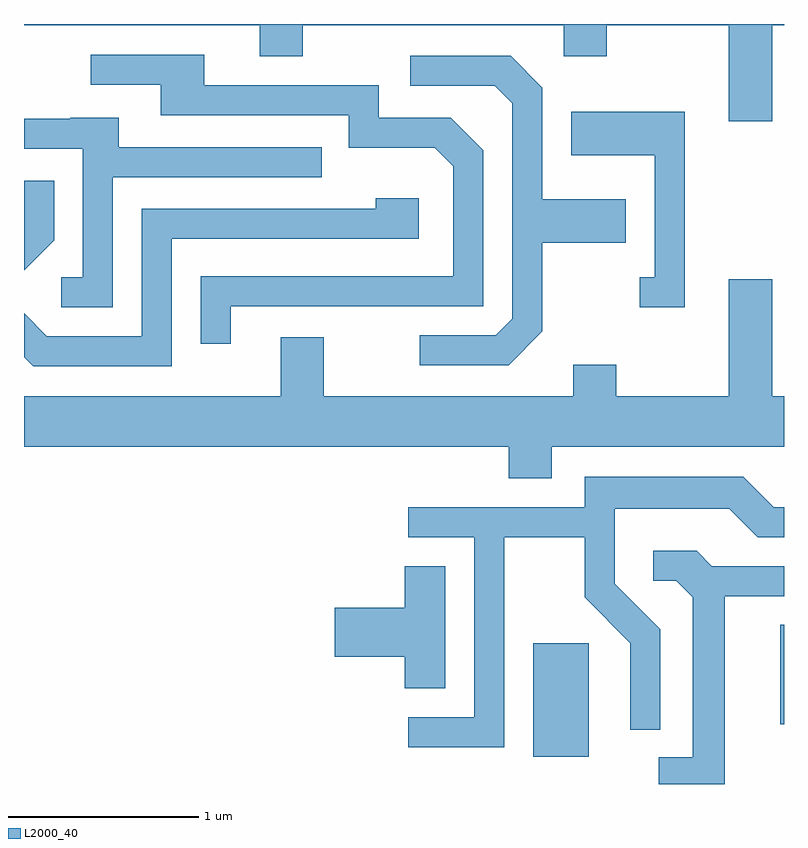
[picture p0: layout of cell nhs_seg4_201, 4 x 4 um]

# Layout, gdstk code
import gdstk
lib = gdstk.Library(unit=1e-6, precision=1e-09)
def R(c, l, rs):  # rectangles x0, y0, x1, y1
    for r in rs: c.add(gdstk.rectangle(r[:2], r[2:], *l))
def P(c, l, *ps):  # polygons
    for p in ps: c.add(gdstk.Polygon(p, *l))
L2000_40 = (2000, 40)

nhs_seg4_201 = lib.new_cell('nhs_seg4_201')
R(nhs_seg4_201, L2000_40, [(192.291,1384.126,192.584,1384.724), (193.591,1384.296,193.611,1384.819)])
P(nhs_seg4_201, L2000_40, [(193.549,1387.976),(193.611,1387.976),(193.611,1387.982),(189.611,1387.982),(189.611,1387.976),(190.851,1387.976),(190.851,1387.811),(191.079,1387.811),(191.079,1387.976),(192.451,1387.976),(192.451,1387.811),(192.679,1387.811),(192.679,1387.976),(193.321,1387.976),(193.321,1387.471),(193.549,1387.471)],
  [(190.699,1386.496),(192.029,1386.496),(192.029,1387.317),(191.857,1387.489),(191.479,1387.489),(191.479,1387.659),(190.559,1387.659),(190.559,1387.819),(189.963,1387.819),(189.963,1387.661),(190.331,1387.661),(190.331,1387.501),(191.321,1387.501),(191.321,1387.331),(191.774,1387.331),(191.871,1387.234),(191.871,1386.654),(190.541,1386.654),(190.541,1386.298),(190.699,1386.298)],
  [(192.339,1386.364),(192.339,1386.831),(192.779,1386.831),(192.779,1387.059),(192.339,1387.059),(192.339,1387.647),(192.172,1387.814),(191.643,1387.814),(191.643,1387.656),(192.089,1387.656),(192.181,1387.564),(192.181,1386.432),(192.094,1386.344),(191.693,1386.344),(191.693,1386.186),(192.162,1386.186)],
  [(193.089,1387.519),(192.491,1387.519),(192.491,1387.291),(192.931,1387.291),(192.931,1386.649),(192.853,1386.649),(192.853,1386.491),(193.089,1386.491)],
  [(190.079,1387.176),(191.178,1387.176),(191.178,1387.334),(190.109,1387.334),(190.109,1387.489),(189.855,1387.489),(189.855,1387.484),(189.611,1387.484),(189.611,1387.326),(189.921,1387.326),(189.921,1386.649),(189.808,1386.649),(189.808,1386.491),(190.079,1386.491)],
  [(189.769,1386.844),(189.769,1387.158),(189.611,1387.158),(189.611,1386.685)],
  [(190.389,1386.851),(191.689,1386.851),(191.689,1387.064),(191.461,1387.064),(191.461,1387.009),(190.231,1387.009),(190.231,1386.339),(189.732,1386.339),(189.611,1386.46),(189.611,1386.229),(189.659,1386.181),(190.389,1386.181)],
  [(192.389,1385.756),(193.611,1385.756),(193.611,1386.024),(193.549,1386.024),(193.549,1386.639),(193.321,1386.639),(193.321,1386.024),(192.729,1386.024),(192.729,1386.189),(192.501,1386.189),(192.501,1386.024),(191.189,1386.024),(191.189,1386.334),(190.961,1386.334),(190.961,1386.024),(189.611,1386.024),(189.611,1385.756),(192.161,1385.756),(192.161,1385.591),(192.389,1385.591)],
  [(192.139,1385.281),(192.561,1385.281),(192.561,1384.964),(192.801,1384.724),(192.801,1384.268),(192.959,1384.268),(192.959,1384.797),(192.719,1385.037),(192.719,1385.431),(193.324,1385.431),(193.474,1385.281),(193.611,1385.281),(193.611,1385.439),(193.557,1385.439),(193.397,1385.599),(192.561,1385.599),(192.561,1385.439),(191.633,1385.439),(191.633,1385.281),(191.981,1385.281),(191.981,1384.334),(191.633,1384.334),(191.633,1384.176),(192.139,1384.176)],
  [(193.299,1384.971),(193.611,1384.971),(193.611,1385.129),(193.232,1385.129),(193.152,1385.209),(192.923,1385.209),(192.923,1385.051),(193.044,1385.051),(193.131,1384.964),(193.131,1384.124),(192.953,1384.124),(192.953,1383.982),(193.299,1383.982)],
  [(191.829,1385.129),(191.616,1385.129),(191.616,1384.909),(191.246,1384.909),(191.246,1384.651),(191.616,1384.651),(191.616,1384.486),(191.829,1384.486)])

lib.write_gds('nhs_seg4_201.gds')
